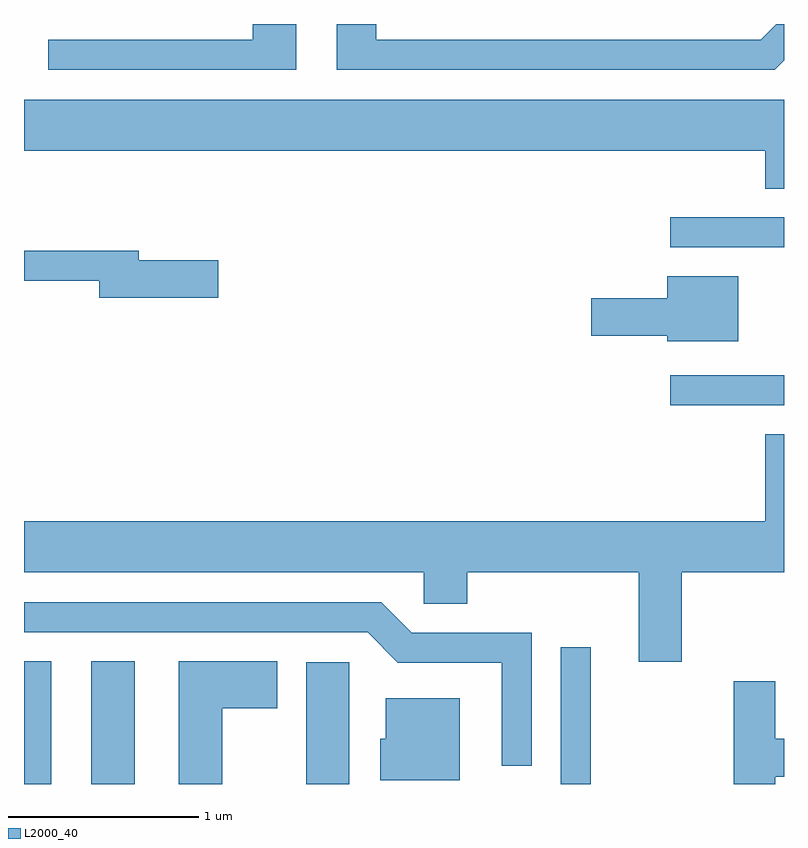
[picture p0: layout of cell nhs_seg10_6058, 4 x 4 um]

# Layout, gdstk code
import gdstk
lib = gdstk.Library(unit=1e-6, precision=1e-09)
def R(c, l, rs):  # rectangles x0, y0, x1, y1
    for r in rs: c.add(gdstk.rectangle(r[:2], r[2:], *l))
def P(c, l, *ps):  # polygons
    for p in ps: c.add(gdstk.Polygon(p, *l))
L2000_40 = (2000, 40)

nhs_seg10_6058 = lib.new_cell('nhs_seg10_6058')
R(nhs_seg10_6058, L2000_40, [(363.611,2170.522,363.754,2171.169), (363.966,2170.522,364.194,2171.169), (365.096,2170.522,365.324,2171.164), (366.436,2170.522,366.594,2171.243), (367.013,2172.516,367.611,2172.674), (367.013,2173.346,367.611,2173.504)])
P(nhs_seg10_6058, L2000_40, [(367.611,2174.33),(367.611,2174.522),(367.571,2174.522),(367.489,2174.439),(365.464,2174.439),(365.464,2174.522),(365.256,2174.522),(365.256,2174.281),(367.562,2174.281)],
  [(365.044,2174.522),(364.816,2174.522),(364.816,2174.439),(363.738,2174.439),(363.738,2174.281),(365.044,2174.281)],
  [(367.611,2174.124),(363.611,2174.124),(363.611,2173.856),(367.511,2173.856),(367.511,2173.656),(367.611,2173.656)],
  [(364.634,2173.279),(364.214,2173.279),(364.214,2173.329),(363.611,2173.329),(363.611,2173.171),(364.006,2173.171),(364.006,2173.081),(364.634,2173.081)],
  [(367.369,2173.194),(366.996,2173.194),(366.996,2173.079),(366.596,2173.079),(366.596,2172.881),(366.996,2172.881),(366.996,2172.851),(367.369,2172.851)],
  [(363.611,2171.636),(365.716,2171.636),(365.716,2171.471),(365.944,2171.471),(365.944,2171.636),(366.846,2171.636),(366.846,2171.166),(367.074,2171.166),(367.074,2171.636),(367.611,2171.636),(367.611,2172.364),(367.511,2172.364),(367.511,2171.904),(363.611,2171.904)],
  [(366.284,2171.319),(365.652,2171.319),(365.492,2171.479),(363.611,2171.479),(363.611,2171.321),(365.419,2171.321),(365.579,2171.161),(366.126,2171.161),(366.126,2170.618),(366.284,2170.618)],
  [(364.654,2170.921),(364.944,2170.921),(364.944,2171.169),(364.426,2171.169),(364.426,2170.522),(364.654,2170.522)],
  [(367.564,2170.561),(367.611,2170.561),(367.611,2170.759),(367.564,2170.759),(367.564,2171.064),(367.346,2171.064),(367.346,2170.522),(367.564,2170.522)],
  [(365.904,2170.974),(365.516,2170.974),(365.516,2170.759),(365.486,2170.759),(365.486,2170.541),(365.904,2170.541)])

lib.write_gds('nhs_seg10_6058.gds')
